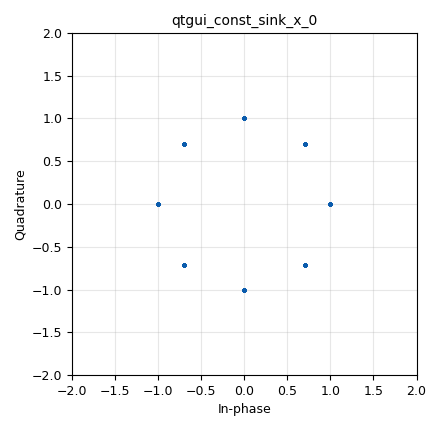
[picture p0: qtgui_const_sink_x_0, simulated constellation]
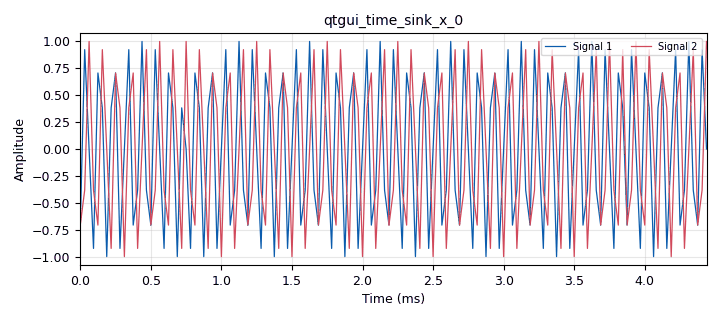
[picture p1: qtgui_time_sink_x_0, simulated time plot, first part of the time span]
options:
  parameters:
    generate_options: qt_gui
    id: psk8_flowgraph
    output_language: python
    title: PSK8 Modulation
  states: {}

blocks:
- name: samp_rate
  id: variable
  parameters:
    value: '32000'
  states: {}
- name: analog_sig_source_x_0
  id: analog_sig_source_x
  parameters:
    amp: '1'
    freq: '10000'
    offset: '0'
    phase: '0'
    samp_rate: '32000'
    type: complex
    waveform: analog.GR_COS_WAVE
  states: {}
- name: blocks_complex_to_float_0
  id: blocks_complex_to_float
  parameters: {}
  states: {}
- name: blocks_multiply_xx_0
  id: blocks_multiply_xx
  parameters:
    type: complex
  states: {}
- name: blocks_repeat_0
  id: blocks_repeat
  parameters:
    interp: '100'
    type: byte
  states: {}
- name: blocks_throttle2_0
  id: blocks_throttle2
  parameters:
    samples_per_second: '1000'
    type: complex
  states: {}
- name: blocks_vector_source_x_0
  id: blocks_vector_source_x
  parameters:
    repeat: 'True'
    type: byte
    vector: '[0, 1, 2, 3, 4, 5, 6, 7]'
  states: {}
- name: epy_block_0
  id: epy_block
  parameters:
    _source_code: |-
      """
      Embedded Python Block - 8-PSK Modulator
      Convertit des symboles (0 à 7) en symboles 8-PSK
      """

      import numpy as np
      from gnuradio import gr

      class blk(gr.sync_block):
          """Bloc de modulation 8-PSK"""

          def __init__(self):
              gr.sync_block.__init__(
                  self,
                  name='8-PSK Modulator',
                  in_sig=[np.uint8],
                  out_sig=[np.complex64]
              )

          def work(self, input_items, output_items):
              """Convertit les symboles en 8-PSK"""
              symbols = input_items[0]
              out = output_items[0]
              
              # 8-PSK : 8 points sur un cercle à 45° d'écart
              constellation = [
                  complex(1.0, 0.0),           # 0 : 0°
                  complex(0.707, 0.707),       # 1 : 45°
                  complex(0.0, 1.0),           # 2 : 90°
                  complex(-0.707, 0.707),      # 3 : 135°
                  complex(-1.0, 0.0),          # 4 : 180°
                  complex(-0.707, -0.707),     # 5 : 225°
                  complex(0.0, -1.0),          # 6 : 270°
                  complex(0.707, -0.707)       # 7 : 315°
              ]
              
              for i in range(len(symbols)):
                  sym = symbols[i] % 8
                  out[i] = constellation[sym]
              
              return len(symbols)
  states: {}
- name: qtgui_const_sink_x_0
  id: qtgui_const_sink_x
  parameters:
    size: '1024'
    type: complex
  states: {}
- name: qtgui_time_sink_x_0
  id: qtgui_time_sink_x
  parameters:
    nconnections: '2'
    size: '1024'
    srate: '32000'
    type: float
  states: {}

connections:
- [analog_sig_source_x_0, '0', blocks_multiply_xx_0, '1']
- [blocks_complex_to_float_0, '0', qtgui_time_sink_x_0, '0']
- [blocks_complex_to_float_0, '1', qtgui_time_sink_x_0, '1']
- [blocks_multiply_xx_0, '0', blocks_complex_to_float_0, '0']
- [blocks_repeat_0, '0', epy_block_0, '0']
- [blocks_throttle2_0, '0', blocks_multiply_xx_0, '0']
- [blocks_throttle2_0, '0', qtgui_const_sink_x_0, '0']
- [blocks_vector_source_x_0, '0', blocks_repeat_0, '0']
- [epy_block_0, '0', blocks_throttle2_0, '0']

metadata:
  file_format: 1
  grc_version: 3.10.12.0
